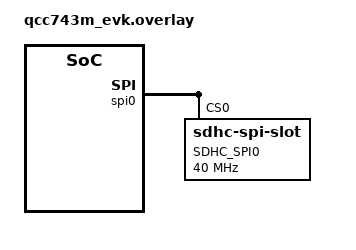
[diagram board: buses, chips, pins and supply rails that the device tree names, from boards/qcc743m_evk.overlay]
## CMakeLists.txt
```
# Copyright (c) 2026 Qualcomm Technologies, Inc. and/or its subsidiaries
# SPDX-License-Identifier: BSD-3-Clause

cmake_minimum_required(VERSION 3.20.0)
find_package(Zephyr REQUIRED HINTS $ENV{ZEPHYR_BASE})
project(demo_sdhc_spi)

FILE(GLOB app_sources src/*.c)
target_sources(app PRIVATE ${app_sources})
```

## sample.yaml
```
# Copyright (c) 2026 Qualcomm Technologies, Inc. and/or its subsidiaries
# SPDX-License-Identifier: Apache-2.0

tests:
  qcc7xx.sample.filesystem.sdhc_api:
    build_only: true
    platform_allow:
      - qcc743m_evk
      - qcc744m_evk
      - qcc748m_evk
      - qcc75xm_evk
```

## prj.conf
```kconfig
#
# SPDX-License-Identifier: Apache-2.0
#

# Logging for debugging
CONFIG_LOG=y
CONFIG_LOG_MODE_DEFERRED=y
CONFIG_LOG_PROCESS_THREAD=y
CONFIG_LOG_PROCESS_THREAD_SLEEP_MS=1
CONFIG_LOG_BUFFER_SIZE=16384
CONFIG_LOG_BACKEND_UART_BUFFER_SIZE=4096
CONFIG_LOG_PROCESS_THREAD_CUSTOM_PRIORITY=y
CONFIG_LOG_PROCESS_THREAD_PRIORITY=5
CONFIG_CBPRINTF_FP_SUPPORT=y

# Optimization
CONFIG_SPEED_OPTIMIZATIONS=y
#CONFIG_SIZE_OPTIMIZATIONS=y
#CONFIG_NO_OPTIMIZATIONS=y

# SPI driver
#CONFIG_SPI_LOG_LEVEL_DBG=y
CONFIG_SPI_LOG_LEVEL_WRN=y

# sdhc driver
#CONFIG_SDHC_LOG_LEVEL_DBG=y
CONFIG_SDHC_LOG_LEVEL_WRN=y

# sd middleware
#CONFIG_SD_LOG_LEVEL_DBG=y
CONFIG_SD_LOG_LEVEL_WRN=y

# File system
#CONFIG_FS_LOG_LEVEL_DBG=y
CONFIG_FS_LOG_LEVEL_ERR=y

# File system support
CONFIG_FILE_SYSTEM=y         # Enables the Zephyr file system API
CONFIG_FAT_FILESYSTEM_ELM=y  # Enables the FATFS file system implementation (ELM FATFS port)
CONFIG_FILE_SYSTEM_MKFS=y
CONFIG_FS_FATFS_LFN=y        # Enables long file name support for FATFS, useful for filenames longer than 8.3 format
CONFIG_FS_FATFS_MKFS=y       # Enables creating disks with FAT file system
CONFIG_FS_FATFS_MOUNT_MKFS=y # Allows automatic formatting of the SD card if no valid filesystem is detected
CONFIG_FS_FATFS_EXFAT=n      # Debug: disable exFAT to test FAT32 path at cluster boundary.

# Disk access for SD card
CONFIG_DISK_ACCESS=y         # Enables the disk access API for interacting with storage devices like SD cards
CONFIG_DISK_DRIVER_SDMMC=y   # Enables the SD/MMC driver for SD card communication
CONFIG_DISK_DRIVER_MMC=n

# Hardware support (example for SDMMC)
CONFIG_SDMMC_STACK=y
CONFIG_MMC_STACK=n
CONFIG_SDIO_STACK=n

# if access via SPI
CONFIG_SPI=y      # Enables SPI controller support.
CONFIG_SPI_SDHC=y # Enables SPI-based SD card host controller.

# Common
CONFIG_MAIN_STACK_SIZE=8192
CONFIG_COMMON_LIBC_MALLOC_ARENA_SIZE=8192

# SPI transfer mode (pick one, comment out the others)
# DMA mode
CONFIG_SPI_QCC74X_DMA=y
CONFIG_DMA=y

# Interrupt-driven mode (mutually exclusive with DMA)
# CONFIG_SPI_QCC74X_INTERRUPT=y
# CONFIG_SPI_ASYNC=y
```

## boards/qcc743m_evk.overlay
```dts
/*
 * Copyright (c) 2026 Qualcomm Technologies, Inc. and/or its subsidiaries
 *
 * SPDX-License-Identifier: BSD-3-Clause
 */

&dma {
	status = "okay";
};

&pinctrl {
	status = "okay";
	spi0_default: spi0_default {
		group1 {
			pinmux = <GPIO29_SPI_SCLK>,
				<GPIO30_SPI_MISO>,
				<GPIO27_SPI_MOSI>,
				<GPIO28_SPI_SS>;
			bias-pull-up;
			drive-strength = <2>;
			input-schmitt-enable;
			input-enable;
		};
	};
};

&spi0 {
	status = "okay";
	pinctrl-0 = <&spi0_default>;
	pinctrl-names = "default";

	sdhc_spi0: sdhc@0 {
		compatible = "zephyr,sdhc-spi-slot";
		reg = <0>;
		status = "okay";
		label = "SDHC_SPI0";
	sdmmc {
		compatible = "zephyr,sdmmc-disk";
		status = "okay";
		label = "SDMMC_0";
		disk-name = "SD";
		};
	spi-max-frequency = <40000000>; /* 40Mhz - Max by spi driver */
	};
};
```

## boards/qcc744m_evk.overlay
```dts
/*
 * Copyright (c) 2025 Qualcomm Technologies, Inc. and/or its subsidiaries
 *
 * SPDX-License-Identifier: Apache-2.0
 */

&dma {
	status = "okay";
};

&pinctrl {
	status = "okay";
	spi0_default: spi0_default {
		group1 {
			pinmux = <GPIO33_SPI_SCLK>,
				<GPIO30_SPI_MISO>,
				<GPIO31_SPI_MOSI>,
				<GPIO32_SPI_SS>;
			bias-pull-up;
			drive-strength = <2>;
			input-schmitt-enable;
			input-enable;
		};
	};
};

&spi0 {
	status = "okay";
	pinctrl-0 = <&spi0_default>;
	pinctrl-names = "default";

	sdhc_spi0: sdhc@0 {
		compatible = "zephyr,sdhc-spi-slot";
		reg = <0>;
		status = "okay";
		label = "SDHC_SPI0";
	sdmmc {
		compatible = "zephyr,sdmmc-disk";
		status = "okay";
		label = "SDMMC_0";
		disk-name = "SD";
		};
	spi-max-frequency = <40000000>; /* 40Mhz - Max by spi driver */
	};
};
```

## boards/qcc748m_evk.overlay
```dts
/*
 * Copyright (c) 2026 Qualcomm Technologies, Inc. and/or its subsidiaries
 *
 * SPDX-License-Identifier: BSD-3-Clause
 */

&dma {
	status = "okay";
};

&pinctrl {
	status = "okay";
	spi0_default: spi0_default {
		group1 {
			pinmux = <GPIO33_SPI_SCLK>,
				<GPIO30_SPI_MISO>,
				<GPIO31_SPI_MOSI>,
				<GPIO32_SPI_SS>;
			bias-pull-up;
			drive-strength = <2>;
			input-schmitt-enable;
			input-enable;
		};
	};
};

&spi0 {
	status = "okay";
	pinctrl-0 = <&spi0_default>;
	pinctrl-names = "default";

	sdhc_spi0: sdhc@0 {
		compatible = "zephyr,sdhc-spi-slot";
		reg = <0>;
		status = "okay";
		label = "SDHC_SPI0";
	sdmmc {
		compatible = "zephyr,sdmmc-disk";
		status = "okay";
		label = "SDMMC_0";
		disk-name = "SD";
		};
	spi-max-frequency = <40000000>; /* 40Mhz - Max by spi driver */
	};
};
```

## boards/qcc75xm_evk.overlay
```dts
/*
 * Copyright (c) 2026 Qualcomm Technologies, Inc. and/or its subsidiaries
 *
 * SPDX-License-Identifier: BSD-3-Clause
 */

&dma {
	status = "okay";
};

&pinctrl {
	status = "okay";
	spi0_default: spi0_default {
		group1 {
			pinmux = <GPIO17_SPI0_SCLK>,
				<GPIO18_SPI0_MISO>,
				<GPIO19_SPI0_MOSI>,
				<GPIO16_SPI0_SS>;
			bias-pull-up;
			drive-strength = <2>;
			input-schmitt-enable;
			input-enable;
		};
	};
};

&spi0 {
	status = "okay";
	pinctrl-0 = <&spi0_default>;
	pinctrl-names = "default";

	sdhc_spi0: sdhc@0 {
		compatible = "zephyr,sdhc-spi-slot";
		reg = <0>;
		status = "okay";
		label = "SDHC_SPI0";
	sdmmc {
		compatible = "zephyr,sdmmc-disk";
		status = "okay";
		label = "SDMMC_0";
		disk-name = "SD";
		};
	spi-max-frequency = <40000000>; /* 40Mhz - Max by spi driver */
	};
};
```

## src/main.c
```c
/*
 * Copyright (c) 2026 Qualcomm Technologies, Inc. and/or its subsidiaries
 * SPDX-License-Identifier: BSD-3-Clause
 */

#include <zephyr/kernel.h>
#include <zephyr/fs/fs.h>
#include <zephyr/device.h>
#include <zephyr/storage/disk_access.h>
#include <zephyr/logging/log.h>
#include <zephyr/sys/util.h>
#include <zephyr/sys/time_units.h>
#include <ff.h>
#include <stdio.h>
#include <string.h>
#include <inttypes.h>

// Logging module
LOG_MODULE_REGISTER(main, LOG_LEVEL_INF);

// Define the mount point for SD card
#define SD_MOUNT_POINT          "/SD:"
#define DISK_NAME               "SD"
#define SD_MOUNT_RETRIES        3
#define SD_MOUNT_RETRY_DELAY_MS 200

/*
 * Test sizing profile:
 * - DMA path: larger chunks/files to stress multi-block writes (CMD25)
 * - Polling/interrupt paths: smaller baseline profile
 */
#ifdef CONFIG_SPI_QCC74X_DMA
#define BUFFER_SIZE   (4 * 1024)
#define MAX_FILE_SIZE (UINT64_C(1) * 1024 * 1024)
#else
#define BUFFER_SIZE   512
#define MAX_FILE_SIZE (UINT64_C(1) * 1024 * 1024)
#endif
static __attribute((aligned(32))) uint8_t buf[BUFFER_SIZE];

// Pattern seed for verification
#define PATTERN_SEED                0xAA
#define PROGRESS_LOG_INTERVAL_BYTES (UINT64_C(8) * 1024 * 1024)

/*
 * Long-file stress options:
 * - 4 GiB mode for FAT32 max-file boundary tests
 * - Tunable long-file mode for timed soak tests
 */
#define ENABLE_4GB_FILE_TEST   0
#define ENABLE_LONG_FILE_TEST  0
#define FAT32_MAX_FILE_SIZE    (UINT64_C(4) * 1024 * 1024 * 1024 - 1U)
/* 1 GiB long-file stress run. */
#define LONG_FILE_TEST_SIZE_MB 1024U

#if ENABLE_4GB_FILE_TEST
#undef MAX_FILE_SIZE
#define MAX_FILE_SIZE FAT32_MAX_FILE_SIZE
#define FILE_NUM      1
#elif ENABLE_LONG_FILE_TEST
#undef MAX_FILE_SIZE
#define MAX_FILE_SIZE ((uint64_t)LONG_FILE_TEST_SIZE_MB * 1024U * 1024U)
#define FILE_NUM      1
#else
// Create NUM files, set max to fill whole disk.
#define FILE_NUM 2
#endif

// Static FATFS structure
static FATFS fat_fs;

// Mount structure
static struct fs_mount_t sd_mp = {
	.type = FS_FATFS, .fs_data = &fat_fs, .mnt_point = SD_MOUNT_POINT};

// Check free space
static void check_free_space(void)
{
	struct fs_statvfs sbuf;
	int ret = fs_statvfs((const char *)SD_MOUNT_POINT, &sbuf);
	if (ret < 0) {
		LOG_ERR("Failed to fs_statvfs() %d", ret);
		return;
	}

	uint64_t free_bytes = (uint64_t)sbuf.f_bfree * sbuf.f_frsize;
	LOG_INF("Disk free space: %llu bytes", free_bytes);
	LOG_INF("Disk total space: %llu bytes", (uint64_t)sbuf.f_blocks * sbuf.f_frsize);
}

// Function to mount the SD card
static int mount_sd_card(void)
{
	static bool first_mount = true;
	int ret = -1;

	if (first_mount) {
		/* Give card/power rails time to settle after boot. */
		k_msleep(250);
		first_mount = false;
	}

	for (int attempt = 1; attempt <= SD_MOUNT_RETRIES; attempt++) {
		ret = fs_mount(&sd_mp);
		if (ret == 0) {
			LOG_INF("SD card mounted successfully.");
			return 0;
		}

		LOG_WRN("Mount attempt %d/%d failed: %d", attempt, SD_MOUNT_RETRIES, ret);
		if (attempt < SD_MOUNT_RETRIES) {
			k_msleep(SD_MOUNT_RETRY_DELAY_MS);
		}
	}

	LOG_ERR("Failed to mount SD card: %d", ret);
	return ret;
}

// Function to get disk capacity
static int64_t get_disk_capacity(void)
{
	uint32_t sector_count, sector_size;
	int ret = disk_access_init(DISK_NAME);
	if (ret != 0) {
		LOG_ERR("Disk init error: %d", ret);
		return -1;
	}
	ret = disk_access_ioctl(DISK_NAME, DISK_IOCTL_GET_SECTOR_COUNT, &sector_count);
	if (ret != 0) {
		LOG_ERR("Get sector count error: %d", ret);
		return -1;
	}
	ret = disk_access_ioctl(DISK_NAME, DISK_IOCTL_GET_SECTOR_SIZE, &sector_size);
	if (ret != 0) {
		LOG_ERR("Get sector size error: %d", ret);
		return -1;
	}
	LOG_INF("Disk capacity: %" PRIu32 " sectors, size %u bytes each. Total: %" PRIi64 " bytes",
		sector_count, sector_size, (int64_t)sector_count * sector_size);
	return (int64_t)sector_count * sector_size;
}

// Generate pattern for a buffer based on global position
static void generate_pattern(uint8_t *buf, size_t size, uint64_t position)
{
	for (size_t i = 0; i < size; i++) {
		buf[i] = (uint8_t)((position + i) ^ PATTERN_SEED);
	}
}

// Verify buffer against pattern
static bool verify_pattern(const uint8_t *buf, size_t size, uint64_t position)
{
	for (size_t i = 0; i < size; i++) {
		uint8_t expected = (uint8_t)((position + i) ^ PATTERN_SEED);
		if (buf[i] != expected) {
			LOG_ERR("Verification failed at position %" PRIu64
				": expected 0x%02x, got 0x%02x",
				position + i, expected, buf[i]);
			return false;
		}
	}
	return true;
}

static void log_file_progress(const char *op, const char *filename, uint64_t done_bytes,
			      uint64_t total_bytes)
{
	uint64_t done_mb = done_bytes / (1024 * 1024);
	uint64_t total_mb = total_bytes / (1024 * 1024);

	if (total_bytes > 0U) {
		uint32_t pct = (uint32_t)((done_bytes * 100U) / total_bytes);
		LOG_INF("%s progress %s: %" PRIu64 "/%" PRIu64 " MB (%" PRIu32 "%%)", op, filename,
			done_mb, total_mb, pct);
	} else {
		LOG_INF("%s progress %s: %" PRIu64 " MB", op, filename, done_mb);
	}
}

// Function to write files to fill the disk
static int write_files_to_disk(void)
{
	struct fs_file_t file;
	int file_num = 1;
	uint64_t total_written = 0;
	bool disk_full = false;

	while (!disk_full) {
		char filename[32];
		int ret;
		snprintf(filename, sizeof(filename), "%s/test%d.dat", SD_MOUNT_POINT, file_num);

		ret = fs_unlink(filename);
		if ((ret != 0) && (ret != -ENOENT)) {
			LOG_WRN("Failed to remove existing %s: %d", filename, ret);
		}

		fs_file_t_init(&file);
		ret = fs_open(&file, filename, FS_O_CREATE | FS_O_WRITE);
		if (ret != 0) {
			LOG_ERR("Failed to open %s: %d", filename, ret);
			return ret;
		}

		LOG_INF("Writing %" PRIu64 " bytes to %s", MAX_FILE_SIZE, filename);

		// Start timing
		uint64_t generate_cycles = 0;
		uint64_t start_cycles = k_cycle_get_64();

		uint64_t file_written = 0;
		uint64_t next_progress_log = PROGRESS_LOG_INTERVAL_BYTES;
		while (file_written < MAX_FILE_SIZE) {
			size_t to_write = BUFFER_SIZE;
			if (file_written + to_write > MAX_FILE_SIZE) {
				to_write = MAX_FILE_SIZE - file_written;
			}

			// Global position for pattern
			// Exclude pattern generation time from benchmark
			uint64_t generate_start = k_cycle_get_64();
			uint64_t position = (uint64_t)(file_num - 1) * MAX_FILE_SIZE + file_written;
			generate_pattern(buf, to_write, position);
			generate_cycles += (k_cycle_get_64() - generate_start);

			ssize_t written = fs_write(&file, buf, to_write);
			if (written < 0) {
				LOG_ERR("Write error: %d at file offset %" PRIu64
					" (requested %zu bytes)",
					(int)written, file_written, to_write);
				fs_close(&file);
				return (int)written;
			} else if (written == 0) {
				// Disk full
				LOG_WRN("Write returned 0 at file offset %" PRIu64
					" (requested %zu bytes)",
					file_written, to_write);
				disk_full = true;
				break;
			}

			file_written += written;
			total_written += written;

			while (file_written >= next_progress_log) {
				log_file_progress("Write", filename, file_written, MAX_FILE_SIZE);
				next_progress_log += PROGRESS_LOG_INTERVAL_BYTES;
			}

			if (written < to_write) {
				// Partial write, likely disk full
				LOG_WRN("Partial write at file offset %" PRIu64
					": wrote %d of %zu bytes",
					file_written - written, (int)written, to_write);
				disk_full = true;
				break;
			}
		}

		// End timing
		uint64_t end_cycles = k_cycle_get_64();

		ret = fs_sync(&file);
		if (ret < 0) {
			LOG_ERR("Failed fs_sync() %s: %d", filename, ret);
		}
		fs_close(&file);

		// Calculate speed in MB/s (1 MB = 1024 * 1024 bytes)
		uint64_t cycles = end_cycles - start_cycles - generate_cycles;
		uint32_t freq_hz = sys_clock_hw_cycles_per_sec();
		double time_seconds = (double)cycles / freq_hz;
		// double speed_mbps = (file_written / (1024.0 * 1024.0)) / time_seconds;
		double speed_kbps = (file_written / (1024.0)) / time_seconds;

		LOG_INF("Wrote %" PRIu64 " bytes to %s. Write speed %.2f KB/s", file_written,
			filename, speed_kbps);

		file_num++;

		if (file_num > FILE_NUM) {
			break;
		}
	}

	LOG_INF("Disk filled. Total written: %" PRIu64 " bytes, %d files", total_written,
		file_num - 1);

	return 0;
}

// Function to read and verify all files
static int read_and_verify_files(bool is_verify)
{
	struct fs_file_t file;
	struct fs_dirent entry;
	int file_num = 1;
	uint64_t total_read = 0;

	while (file_num <= FILE_NUM) {
		char filename[32];
		snprintf(filename, sizeof(filename), "%s/test%d.dat", SD_MOUNT_POINT, file_num);

		fs_file_t_init(&file);
		int ret = fs_open(&file, filename, FS_O_READ);
		if (ret != 0) {
			LOG_ERR("Failed to open %s, ret %d", filename, ret);
			return ret;
		}

		// Get file info (including size)
		ret = fs_stat(filename, &entry);
		if (ret < 0) {
			LOG_ERR("Failed to stat %s: %d", filename, ret);
			fs_close(&file);
			return ret;
		}

		if (is_verify) {
			LOG_INF("Read and verify %d bytes in %s", entry.size, filename);
		} else {
			LOG_INF("Read %d bytes in %s", entry.size, filename);
		}

		// Start timing
		uint64_t verify_cycles = 0;
		uint64_t start_cycles = k_cycle_get_64();

		uint64_t file_read = 0;
		uint64_t next_progress_log = PROGRESS_LOG_INTERVAL_BYTES;
		uint64_t file_size = (uint64_t)entry.size;
		while (true) {
			ssize_t read = fs_read(&file, buf, BUFFER_SIZE);
			if (read <= 0) {
				break; // End of file or error
			}

			if (is_verify) {
				// Global position for pattern
				// Exclude pattern generation time from benchmark
				uint64_t verify_start = k_cycle_get_64();
				uint64_t position =
					(uint64_t)(file_num - 1) * MAX_FILE_SIZE + file_read;
				if (!verify_pattern(buf, read, position)) {
					fs_close(&file);
					return -1;
				}
				verify_cycles += (k_cycle_get_64() - verify_start);
			}
			file_read += read;
			total_read += read;

			while (file_read >= next_progress_log) {
				log_file_progress(is_verify ? "Verify" : "Read", filename,
						  file_read, file_size);
				next_progress_log += PROGRESS_LOG_INTERVAL_BYTES;
			}
		}

		// End timing
		uint64_t end_cycles = k_cycle_get_64();
		fs_close(&file);
		uint64_t cycles = end_cycles - start_cycles - verify_cycles;
		uint32_t freq_hz = sys_clock_hw_cycles_per_sec();
		double time_seconds = (double)cycles / freq_hz;

		// Calculate speed in MB/s (1 MB = 1024 * 1024 bytes)
		// double speed_mbps = (file_read / (1024.0 * 1024.0)) / time_seconds;
		double speed_kbps = (file_read / (1024.0)) / time_seconds;

		if (is_verify) {
			LOG_INF("Verified %" PRIu64 " bytes in %s. Read speed %.2f KB/s", file_read,
				filename, speed_kbps);
		} else {
			LOG_INF("Read %" PRIu64 " bytes in %s. Read speed %.2f KB/s", file_read,
				filename, speed_kbps);
		}
		file_num++;
	}

	if (is_verify) {
		LOG_INF("Verification complete. Total verified: %" PRIu64 " bytes, %d files",
			total_read, file_num - 1);
	} else {
		LOG_INF("Read complete. Total read: %" PRIu64 " bytes, %d files", total_read,
			file_num - 1);
	}

	return 0;
}

int main(void)
{
	int ret = -1;
	LOG_INF("Starting SPI SD card format, write, read and verify example.");

	while (1) {
		// Mount the SD card (format if necessary)
		if (mount_sd_card()) {
			break;
		}

		// Get capacity
		int64_t capacity = get_disk_capacity();
		LOG_INF("Disk capacity: %lld bytes, %lld Mbytes", capacity,
			capacity / (1024 * 1024));
		check_free_space();
		if (capacity < 0) {
			LOG_ERR("Unknown disk capacity.");
			break;
		}

		// Write files
		// Exclude pattern generation time from benchmark
		if (write_files_to_disk()) {
			LOG_ERR("Write files to disk failed.");
			break;
		}

		// Read and verify
		// Exclude pattern generation time from benchmark
		if (read_and_verify_files(true)) {
			LOG_ERR("Verification failed.");
			break;
		} else {
			LOG_INF("All operations completed successfully !");
			ret = 0;
			break;
		}
	}

	LOG_INF("All operations completed !");

	while (1) {
		k_msleep(2000);
	}

	return ret;
}
```
